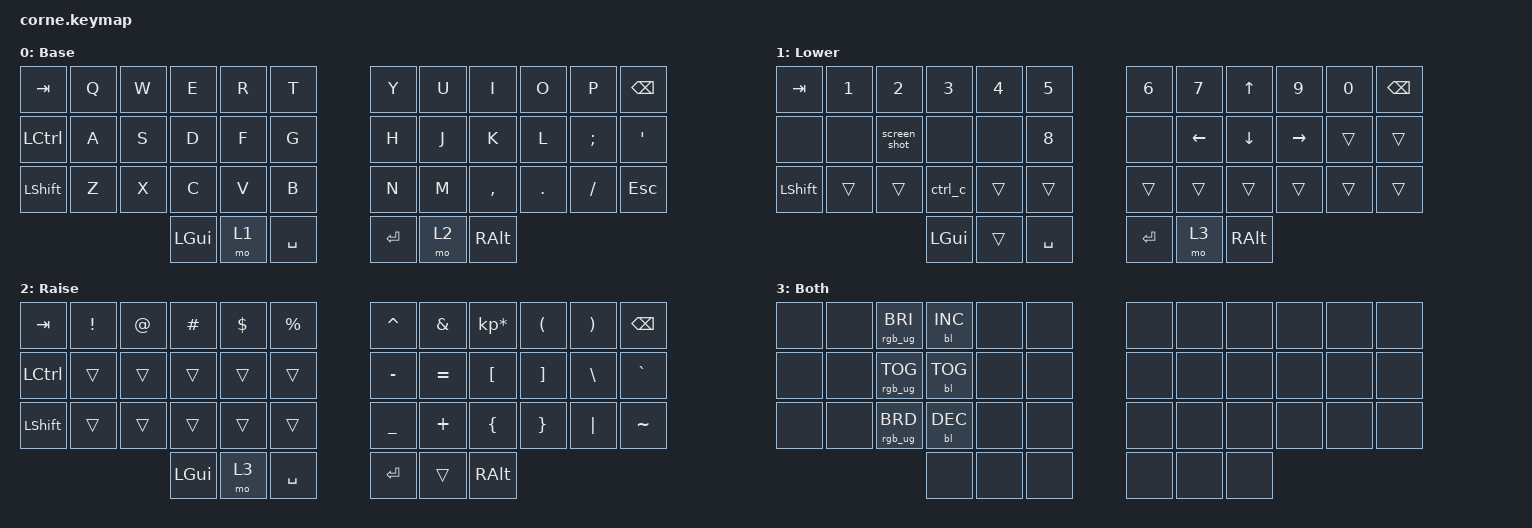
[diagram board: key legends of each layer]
/*
 * Copyright (c) 2020 The ZMK Contributors
 *
 * SPDX-License-Identifier: MIT
 */

#include <behaviors.dtsi>
#include <dt-bindings/zmk/backlight.h>
#include <dt-bindings/zmk/keys.h>
#include <dt-bindings/zmk/rgb.h>

/ {
    macros {
        screen_shot: cmd_s {
            compatible = "zmk,behavior-macro";
            #binding-cells = <0>;
            bindings =
                <&macro_press>,
                <&kp LG(LEFT_SHIFT) &kp N5>,
                <&macro_release>,
                <&kp LG(LEFT_SHIFT) &kp NUMBER_5>;

            label = "CMD_S";
        };

        ctrl_c: ctrl_c {
            compatible = "zmk,behavior-macro";
            #binding-cells = <0>;
            bindings =
                <&macro_press>,
                <&kp LC(C)>,
                <&macro_release>,
                <&kp LC(C)>;

            label = "CTRL_C";
        };
    };

    keymap {
        compatible = "zmk,keymap";

        default_layer {
            // -----------------------------------------------------------------------------------------
            // |  TAB |  Q  |  W  |  E  |  R  |  T  |   |  Y  |  U   |  I  |  O  |  P  | BKSP |
            // | CTRL |  A  |  S  |  D  |  F  |  G  |   |  H  |  J   |  K  |  L  |  ;  |  '   |
            // | SHFT |  Z  |  X  |  C  |  V  |  B  |   |  N  |  M   |  ,  |  .  |  /  | ESC  |
            //                    | GUI | LWR | SPC |   | ENT | RSE  | ALT |

            display-name = "Base";
            bindings = <
&kp TAB    &kp Q  &kp W  &kp E     &kp R  &kp T        &kp Y    &kp U  &kp I      &kp O    &kp P     &kp BSPC
&kp LCTRL  &kp A  &kp S  &kp D     &kp F  &kp G        &kp H    &kp J  &kp K      &kp L    &kp SEMI  &kp SQT
&kp LSHFT  &kp Z  &kp X  &kp C     &kp V  &kp B        &kp N    &kp M  &kp COMMA  &kp DOT  &kp FSLH  &kp ESC
                         &kp LGUI  &mo 1  &kp SPACE    &kp RET  &mo 2  &kp RALT
            >;
        };

        lower_layer {
            // -----------------------------------------------------------------------------------------
            // |  TAB |  1  |  2  |  3  |  4  |  5  |   |  6  |  7  |  8  |  9  |  0  | BKSP |
            // | BTCLR| BT1 | BT2 | BT3 | BT4 | BT5 |   | LFT | DWN |  UP | RGT |     |      |
            // | SHFT |     |     |     |     |     |   |     |     |     |     |     |      |
            //                    | GUI |     | SPC |   | ENT |     | ALT |

            display-name = "Lower";
            bindings = <
&kp TAB    &kp N1  &kp N2        &kp N3    &kp N4  &kp N5       &kp N6   &kp N7    &kp UP_ARROW    &kp N9     &kp N0  &kp BSPC
&none      &none   &screen_shot  &none     &none   &kp N8       &none    &kp LEFT  &kp DOWN_ARROW  &kp RIGHT  &trans  &trans
&kp LSHFT  &trans  &trans        &ctrl_c   &trans  &trans       &trans   &trans    &trans          &trans     &trans  &trans
                                 &kp LGUI  &trans  &kp SPACE    &kp RET  &mo 3     &kp RALT
            >;
        };

        raise_layer {
            // -----------------------------------------------------------------------------------------
            // |  TAB |  !  |  @  |  #  |  $  |  %  |   |  ^  |  &  |  *  |  (  |  )  | BKSP |
            // | CTRL |     |     |     |     |     |   |  -  |  =  |  [  |  ]  |  \  |  `   |
            // | SHFT |     |     |     |     |     |   |  _  |  +  |  {  |  }  | "|" |  ~   |
            //                    | GUI |     | SPC |   | ENT |     | ALT |

            display-name = "Raise";
            bindings = <
&kp TAB    &kp EXCL  &kp AT  &kp HASH  &kp DLLR  &kp PRCNT    &kp CARET  &kp AMPS   &kp KP_MULTIPLY  &kp LPAR  &kp RPAR  &kp BSPC
&kp LCTRL  &trans    &trans  &trans    &trans    &trans       &kp MINUS  &kp EQUAL  &kp LBKT         &kp RBKT  &kp BSLH  &kp GRAVE
&kp LSHFT  &trans    &trans  &trans    &trans    &trans       &kp UNDER  &kp PLUS   &kp LBRC         &kp RBRC  &kp PIPE  &kp TILDE
                             &kp LGUI  &mo 3     &kp SPACE    &kp RET    &trans     &kp RALT
            >;
        };

        both_layer {
            // -----------------------------------------------------------------------------------------
            // |  TAB |  !  |  @  |  #  |  $  |  %  |   |  ^  |  &  |  *  |  (  |  )  | BKSP |
            // | CTRL |     |     |     |     |     |   |  -  |  =  |  [  |  ]  |  \  |  `   |
            // | SHFT |     |     |     |     |     |   |  _  |  +  |  {  |  }  | "|" |  ~   |
            //                    | GUI |     | SPC |   | ENT |     | ALT |

            display-name = "Both";
            bindings = <
&none  &none  &rgb_ug RGB_BRI  &bl BL_INC  &none  &none    &none  &none  &none  &none  &none  &none
&none  &none  &rgb_ug RGB_TOG  &bl BL_TOG  &none  &none    &none  &none  &none  &none  &none  &none
&none  &none  &rgb_ug RGB_BRD  &bl BL_DEC  &none  &none    &none  &none  &none  &none  &none  &none
                               &none       &none  &none    &none  &none  &none
            >;
        };

        extra_2 { status = "reserved"; };

        extra_3 { status = "reserved"; };
    };
};
